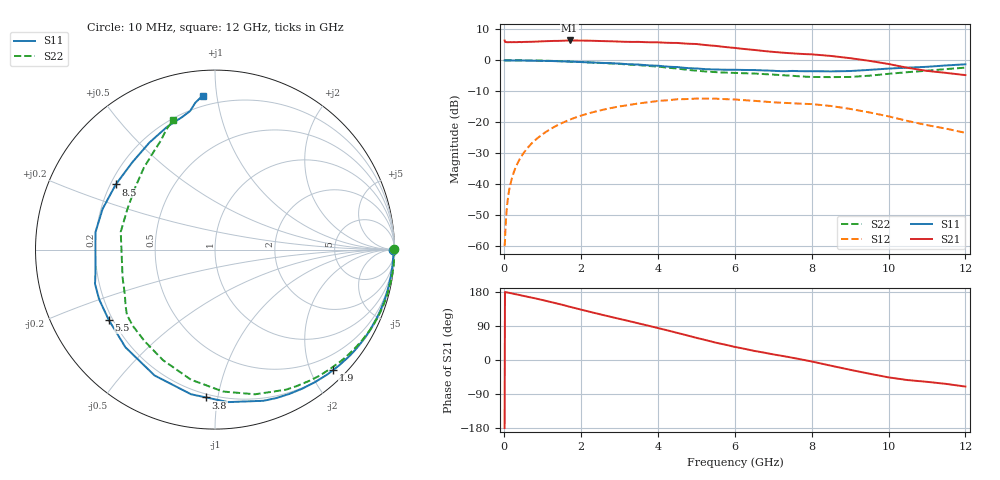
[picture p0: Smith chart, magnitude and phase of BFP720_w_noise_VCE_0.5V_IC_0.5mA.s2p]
! (c) 2012  Infineon Technologies AG, Munich
! Infineon Technologies  Discrete & RF Semiconductors
! BFP720
! VCE =  0.5 V,  IC =  0.5 mA
! Common Emitter S-Parameters:  Aug 2012
# GHz  S  MA  R  50
!  f  S11  S21  S12  S22
! GHz  MAG  ANG  MAG  ANG  MAG  ANG  MAG  ANG
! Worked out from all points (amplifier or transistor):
!   105 points, 10 MHz to 12 GHz, reference 50 ohm
!   highest |S21| = 6.4 dB at 1.7 GHz (marker M1)
!   |S21| within 3 dB of that: start of sweep to 6.453 GHz
!   unconditionally stable (mu >= 1): start of sweep to 10.19 MHz; 9.505 GHz to 11.68 GHz
!   at 300 MHz: K = 0.00, MSG = 20.2 dB, |S12| = -34.5 dB
!   at 3.6 GHz: K = 0.28, MSG = 9.8 dB, |S12| = -13.8 dB
!   at 12 GHz: K = 0.87, MSG = 9.3 dB, |S12| = -23.4 dB
!   lowest NFmin = 0.59 dB at 450 MHz
!   S11 on the Smith chart (normalised r, x): 10 MHz: open; 1.9 GHz: 0.20, -2.37; 3.8 GHz: 0.18, -0.92; 5.5 GHz: 0.18, -0.29; 8.5 GHz: 0.22, +0.29; 12 GHz: 0.14, +0.91
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0.01  0.994 -0.2  2.084 -179.6  0.001 -0.2  0.9959 0.1
0.02  0.9934 -0.4  1.987 179.4  0.0012 87.2  0.9998 -0.4
0.06  0.9926 -1.2  1.96 178.5  0.0036 87.9  0.9984 -1.3
0.12  0.9934 -2.6  1.957 177.4  0.0075 88.0  0.9992 -2.4
0.2  0.9929 -4.3  1.957 175.7  0.0125 86.3  0.9988 -3.9
0.35  0.9906 -7.7  1.962 172.5  0.022 84.1  0.9976 -7.0
0.9  0.9814 -20.4  2.009 160.5  0.0576 73.5  0.9879 -18.2
1.7  0.9502 -40.5  2.087 140.6  0.1097 56.2  0.9528 -35.5
1.9  0.9405 -45.5  2.082 135.5  0.1218 51.7  0.9418 -39.8
2.1  0.9295 -50.5  2.073 130.4  0.1334 47.2  0.9287 -44.1
2.8  0.895 -67.5  2.022 113.2  0.1705 31.9  0.8863 -59.1
3.8  0.825 -93.5  1.95 89.3  0.212 10.1  0.8053 -81.7
4.1  0.8041 -102.5  1.931 81.8  0.2225 3.7  0.7777 -89.3
5  0.7383 -132.6  1.83 58.5  0.2409 -17.1  0.6807 -115.2
5.5  0.71 -146.5  1.707 45.9  0.2404 -28.3  0.6438 -127.5
6.1  0.7002 -158.2  1.554 32.6  0.2304 -40.4  0.6215 -138.3
7  0.6772 -169.6  1.365 14.8  0.2099 -55.7  0.587 -148.1
8  0.666 160.1  1.246 -3.9  0.1963 -71.8  0.5374 -163.4
8.5  0.6614 146.7  1.174 -15.0  0.183 -81.9  0.5345 169.3
9.5  0.6994 121.5  0.979 -36.1  0.144 -99.0  0.5634 142.1
10.5  0.7599 104.1  0.755 -53.0  0.1047 -110.8  0.6428 122.2
12  0.8605 94.6  0.576 -70.1  0.0675 -118.7  0.7596 107.8
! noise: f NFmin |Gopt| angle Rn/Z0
0.45  0.59  0.89  6  0.89
1.8  0.89  0.79  32  0.77
2.4  1.02  0.74  86  0.57
5.5  1.58  0.61  109  0.26
10  2.85  0.65  -124  0.44
